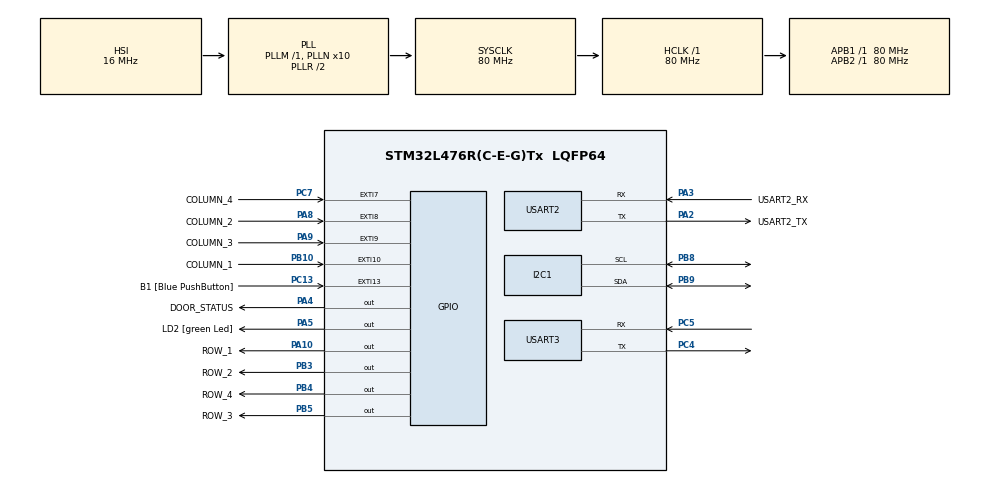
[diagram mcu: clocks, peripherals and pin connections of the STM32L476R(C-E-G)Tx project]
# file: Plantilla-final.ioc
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I2C1.Timing=0x10D19CE4
Mcu.Family=STM32L4
Mcu.Name=STM32L476R(C-E-G)Tx
Mcu.Package=LQFP64
NVIC.EXTI15_10_IRQn=true\:0\:0\:false\:false\:true\:true\:true\:true
NVIC.EXTI9_5_IRQn=true\:0\:0\:false\:false\:true\:true\:true\:true
NVIC.I2C1_ER_IRQn=true\:0\:0\:false\:false\:true\:true\:true\:true
NVIC.I2C1_EV_IRQn=true\:0\:0\:false\:false\:true\:true\:true\:true
NVIC.PriorityGroup=NVIC_PRIORITYGROUP_4
NVIC.RCC_IRQn=true\:0\:0\:false\:false\:true\:true\:false\:true
NVIC.USART2_IRQn=true\:0\:0\:false\:false\:true\:true\:true\:true
NVIC.USART3_IRQn=true\:0\:0\:false\:false\:true\:true\:true\:true
PA10.GPIO_Label=ROW_1
PA10.GPIO_ModeDefaultOutputPP=GPIO_MODE_OUTPUT_OD
PA10.GPIO_PuPd=GPIO_NOPULL
PA10.GPIO_Speed=GPIO_SPEED_FREQ_VERY_HIGH
PA10.PinState=GPIO_PIN_RESET
PA10.Signal=GPIO_Output
PA13\ (JTMS-SWDIO).GPIO_Label=TMS
PA13\ (JTMS-SWDIO).Mode=Serial_Wire
PA13\ (JTMS-SWDIO).Signal=SYS_JTMS-SWDIO
PA14\ (JTCK-SWCLK).GPIO_Label=TCK
PA14\ (JTCK-SWCLK).Mode=Serial_Wire
PA14\ (JTCK-SWCLK).Signal=SYS_JTCK-SWCLK
PA2.GPIO_Label=USART2_TX
PA2.GPIO_Mode=GPIO_MODE_AF_PP
PA2.GPIO_PuPd=GPIO_NOPULL
PA2.GPIO_Speed=GPIO_SPEED_FREQ_VERY_HIGH
PA2.Mode=Asynchronous
PA2.Signal=USART2_TX
PA3.GPIO_Label=USART2_RX
PA3.GPIO_Mode=GPIO_MODE_AF_PP
PA3.GPIO_PuPd=GPIO_NOPULL
PA3.GPIO_Speed=GPIO_SPEED_FREQ_VERY_HIGH
PA3.Mode=Asynchronous
PA3.Signal=USART2_RX
PA4.GPIO_Label=DOOR_STATUS
PA4.Signal=GPIO_Output
PA5.GPIO_Label=LD2 [green Led]
PA5.GPIO_ModeDefaultOutputPP=GPIO_MODE_OUTPUT_PP
PA5.GPIO_PuPd=GPIO_NOPULL
PA5.GPIO_Speed=GPIO_SPEED_FREQ_LOW
PA5.Signal=GPIO_Output
PA8.GPIO_Label=COLUMN_2
PA8.GPIO_ModeDefaultEXTI=GPIO_MODE_IT_FALLING
PA8.GPIO_PuPd=GPIO_PULLUP
PA8.Signal=GPXTI8
PA9.GPIO_Label=COLUMN_3
PA9.GPIO_ModeDefaultEXTI=GPIO_MODE_IT_FALLING
PA9.GPIO_PuPd=GPIO_PULLUP
PA9.Signal=GPXTI9
PB10.GPIO_Label=COLUMN_1
PB10.GPIO_ModeDefaultEXTI=GPIO_MODE_IT_FALLING
PB10.GPIO_PuPd=GPIO_PULLUP
PB10.Signal=GPXTI10
PB3\ (JTDO-TRACESWO).GPIO_Label=ROW_2
PB3\ (JTDO-TRACESWO).GPIO_ModeDefaultOutputPP=GPIO_MODE_OUTPUT_OD
PB3\ (JTDO-TRACESWO).GPIO_PuPd=GPIO_NOPULL
PB3\ (JTDO-TRACESWO).GPIO_Speed=GPIO_SPEED_FREQ_VERY_HIGH
PB3\ (JTDO-TRACESWO).PinState=GPIO_PIN_RESET
PB3\ (JTDO-TRACESWO).Signal=GPIO_Output
PB4\ (NJTRST).GPIO_Label=ROW_4
PB4\ (NJTRST).GPIO_ModeDefaultOutputPP=GPIO_MODE_OUTPUT_OD
PB4\ (NJTRST).GPIO_PuPd=GPIO_NOPULL
PB4\ (NJTRST).GPIO_Speed=GPIO_SPEED_FREQ_VERY_HIGH
PB4\ (NJTRST).PinState=GPIO_PIN_RESET
PB4\ (NJTRST).Signal=GPIO_Output
PB5.GPIO_Label=ROW_3
PB5.GPIO_ModeDefaultOutputPP=GPIO_MODE_OUTPUT_OD
PB5.GPIO_PuPd=GPIO_NOPULL
PB5.GPIO_Speed=GPIO_SPEED_FREQ_VERY_HIGH
PB5.PinState=GPIO_PIN_RESET
PB5.Signal=GPIO_Output
PB8.Mode=I2C
PB8.Signal=I2C1_SCL
PB9.Mode=I2C
PB9.Signal=I2C1_SDA
PC13.GPIO_Label=B1 [Blue PushButton]
PC13.GPIO_ModeDefaultEXTI=GPIO_MODE_IT_FALLING
PC13.GPIO_PuPd=GPIO_NOPULL
PC13.Signal=GPXTI13
PC14-OSC32_IN\ (PC14).Mode=LSE-External-Oscillator
PC14-OSC32_IN\ (PC14).Signal=RCC_OSC32_IN
PC15-OSC32_OUT\ (PC15).Mode=LSE-External-Oscillator
PC15-OSC32_OUT\ (PC15).Signal=RCC_OSC32_OUT
PC4.Mode=Asynchronous
PC4.Signal=USART3_TX
PC5.Mode=Asynchronous
PC5.Signal=USART3_RX
PC7.GPIO_Label=COLUMN_4
PC7.GPIO_ModeDefaultEXTI=GPIO_MODE_IT_FALLING
PC7.GPIO_PuPd=GPIO_PULLUP
PC7.Signal=GPXTI7
PH0-OSC_IN\ (PH0).Signal=RCC_OSC_IN
PH1-OSC_OUT\ (PH1).Signal=RCC_OSC_OUT
ProjectManager.HeapSize=0x200
ProjectManager.StackSize=0x400
ProjectManager.TargetToolchain=CMake
RCC.ADCFreq_Value=64000000
RCC.AHBFreq_Value=80000000
RCC.APB1Freq_Value=80000000
RCC.APB1TimFreq_Value=80000000
RCC.APB2Freq_Value=80000000
RCC.APB2TimFreq_Value=80000000
RCC.CortexFreq_Value=80000000
RCC.HCLKFreq_Value=80000000
RCC.HSE_VALUE=8000000
RCC.HSI_VALUE=16000000
RCC.MSI_VALUE=4000000
RCC.PLLN=10
RCC.PLLSourceVirtual=RCC_PLLSOURCE_HSI
RCC.PREFETCH_ENABLE=1
RCC.SYSCLKFreq_VALUE=80000000
RCC.SYSCLKSource=RCC_SYSCLKSOURCE_PLLCLK
RCC.USBFreq_Value=64000000
RCC.VCOOutputFreq_Value=160000000
USART2.VirtualMode-Asynchronous=VM_ASYNC
USART3.VirtualMode-Asynchronous=VM_ASYNC
board=NUCLEO-L476RG

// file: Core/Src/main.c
/* USER CODE BEGIN Header */
/**
  ******************************************************************************
  * @file           : main.c
  * @brief          : Main program body
  ******************************************************************************
  * @attention
  *
  * Copyright (c) 2025 STMicroelectronics.
  * All rights reserved.
  *
  * This software is licensed under terms that can be found in the LICENSE file
  * in the root directory of this software component.
  * If no LICENSE file comes with this software, it is provided AS-IS.
  *
  ******************************************************************************
  */
/* USER CODE END Header */
#include "main.h"
#include "system.h"

/* USER CODE BEGIN Includes */
#include "keypad.h"
#include "ssd1306.h"
#include "ssd1306_fonts.h"
/* USER CODE END Includes */

I2C_HandleTypeDef hi2c1;

UART_HandleTypeDef huart2;
UART_HandleTypeDef huart3;

/* USER CODE BEGIN PV */
uint16_t keypad_colum_pressed = 0;
uint8_t b1_press_count = 0;
uint32_t button_last_press = 0;    // Tiempo de la última pulsación

uint8_t pc_rx_data[BUFFER_CAPACITY];
ring_buffer_t pc_rx_buffer;

uint8_t keypad_rx_data[BUFFER_CAPACITY];
ring_buffer_t keypad_rx_buffer;

uint8_t internet_rx_data[BUFFER_CAPACITY];
ring_buffer_t internet_rx_buffer;

door_state_t door_state = STATE_CERRADO;
uint32_t door_timer = 0;  // Para contar el tiempo en modo temporal

char key_buffer[KEYPAD_BUFFER_SIZE] = {0};
uint8_t key_index = 0;

/* USER CODE END PV */

void SystemClock_Config(void);
static void MX_GPIO_Init(void);
static void MX_I2C1_Init(void);
static void MX_USART2_UART_Init(void);
static void MX_USART3_UART_Init(void);

/* USER CODE BEGIN 0 */

void HAL_GPIO_EXTI_Callback(uint16_t GPIO_Pin)
{
  if (GPIO_Pin == B1_Pin) { // Botón
    uint32_t current_time = HAL_GetTick();

    // Debounce: ignora presiones si han pasado menos de 100 ms desde la última
    if (current_time - button_last_press < 100) {
      return;
    }

    // Actualiza el tiempo de la última pulsación y cuenta la pulsación
    button_last_press = current_time;
    b1_press_count++;

  } else { // Teclado matricial
    keypad_colum_pressed = GPIO_Pin;
  }
}

/**
* @brief Callback de interrupción de recepción UART.
* Se almacenan los datos recibidos en el ring buffer correspondiente según la interfaz.
*/
uint8_t rx_data;
void HAL_UART_RxCpltCallback(UART_HandleTypeDef *huart)
{
  if (huart->Instance == USART2) {
    ring_buffer_write(&pc_rx_buffer, rx_data);
    HAL_UART_Transmit(&huart2, &rx_data, 1, 1000);
    HAL_UART_Receive_IT(&huart2, &rx_data, 1);

  } else if (huart->Instance == USART3) {
    ring_buffer_write(&internet_rx_buffer, rx_data);
    HAL_UART_Transmit(&huart2, &rx_data, 1, 1000);
    HAL_UART_Receive_IT(&huart3, &rx_data, 1);
  }
}

/**
 * @brief  Retargets the C library printf function to the USART.
*/
int _write(int file, char *ptr, int len)
{
  (void)file;
  HAL_UART_Transmit(&huart2, (uint8_t *)ptr, len, 10);
  return len;
}
/* USER CODE END 0 */

int main(void)
{

  /* MCU Configuration--------------------------------------------------------*/

  /* Reset of all peripherals, Initializes the Flash interface and the Systick. */
  HAL_Init();

  /* USER CODE BEGIN Init */
  keypad_init();
  /* USER CODE END Init */

  /* Configure the system clock */
  SystemClock_Config();

  /* Initialize all configured peripherals */
  MX_GPIO_Init();
  MX_I2C1_Init();
  MX_USART2_UART_Init();
  MX_USART3_UART_Init();
  /* USER CODE BEGIN 2 */
  HAL_UART_Transmit(&huart2, (uint8_t *)"Hello, stm32\r\n", 14, 1000);
  HAL_UART_Transmit(&huart3, (uint8_t *)"Hello, esp-wifi\r\n", 17, 1000);
  HAL_UART_Receive_IT(&huart3, &rx_data, 1);
  HAL_UART_Receive_IT(&huart2, &rx_data, 1);

  ring_buffer_init(&pc_rx_buffer, pc_rx_data, sizeof(pc_rx_data));
  ring_buffer_init(&keypad_rx_buffer, keypad_rx_data, sizeof(keypad_rx_data));
  ring_buffer_init(&internet_rx_buffer, internet_rx_data, sizeof(internet_rx_data));

  ssd1306_Init();
  ssd1306_Fill(Black);
  ssd1306_SetCursor(17, 17);
  ssd1306_WriteString(FW_VERSION, Font_11x18, White);
  ssd1306_UpdateScreen();

  /* USER CODE END 2 */

  /* Infinite loop */
  /* USER CODE BEGIN WHILE */
  printf("Firmware version: %s\r\n", FW_VERSION);
  while (1)
  {
    heartbeat();

      // Procesa el evento del botón solo si han pasado al menos 500 ms desde la última pulsación
    if (b1_press_count > 0 && (HAL_GetTick() - button_last_press >= 500)) {
      system_events_handler_button(b1_press_count);
      b1_press_count = 0;  // Reinicia el contador después de procesar el evento
    }
    if (keypad_colum_pressed > 0) {
      uint8_t key = keypad_scan(keypad_colum_pressed);

      printf("Key pressed: %c\r\n", key);
      HAL_UART_Transmit(&huart3, &key, 1, 1000);
      system_events_handler_key(key);
      keypad_colum_pressed = 0;
    }

    // Procesar comandos recibidos vía UART (desde PC host y ESP01)
    process_uart_commands(&pc_rx_buffer);
    process_uart_commands(&internet_rx_buffer);

    system_state_machine();

    /* USER CODE END WHILE */

  }
}

void SystemClock_Config(void)
{
  RCC_OscInitTypeDef RCC_OscInitStruct = {0};
  RCC_ClkInitTypeDef RCC_ClkInitStruct = {0};

  /** Configure the main internal regulator output voltage
  */
  if (HAL_PWREx_ControlVoltageScaling(PWR_REGULATOR_VOLTAGE_SCALE1) != HAL_OK)
  {
    Error_Handler();
  }

  /** Initializes the RCC Oscillators according to the specified parameters
  * in the RCC_OscInitTypeDef structure.
  */
  RCC_OscInitStruct.OscillatorType = RCC_OSCILLATORTYPE_HSI;
  RCC_OscInitStruct.HSIState = RCC_HSI_ON;
  RCC_OscInitStruct.HSICalibrationValue = RCC_HSICALIBRATION_DEFAULT;
  RCC_OscInitStruct.PLL.PLLState = RCC_PLL_ON;
  RCC_OscInitStruct.PLL.PLLSource = RCC_PLLSOURCE_HSI;
  RCC_OscInitStruct.PLL.PLLM = 1;
  RCC_OscInitStruct.PLL.PLLN = 10;
  RCC_OscInitStruct.PLL.PLLP = RCC_PLLP_DIV7;
  RCC_OscInitStruct.PLL.PLLQ = RCC_PLLQ_DIV2;
  RCC_OscInitStruct.PLL.PLLR = RCC_PLLR_DIV2;
  if (HAL_RCC_OscConfig(&RCC_OscInitStruct) != HAL_OK)
  {
    Error_Handler();
  }

  /** Initializes the CPU, AHB and APB buses clocks
  */
  RCC_ClkInitStruct.ClockType = RCC_CLOCKTYPE_HCLK|RCC_CLOCKTYPE_SYSCLK
                              |RCC_CLOCKTYPE_PCLK1|RCC_CLOCKTYPE_PCLK2;
  RCC_ClkInitStruct.SYSCLKSource = RCC_SYSCLKSOURCE_PLLCLK;
  RCC_ClkInitStruct.AHBCLKDivider = RCC_SYSCLK_DIV1;
  RCC_ClkInitStruct.APB1CLKDivider = RCC_HCLK_DIV1;
  RCC_ClkInitStruct.APB2CLKDivider = RCC_HCLK_DIV1;

  if (HAL_RCC_ClockConfig(&RCC_ClkInitStruct, FLASH_LATENCY_4) != HAL_OK)
  {
    Error_Handler();
  }
}

static void MX_I2C1_Init(void)
{

  hi2c1.Instance = I2C1;
  hi2c1.Init.Timing = 0x10D19CE4;
  hi2c1.Init.OwnAddress1 = 0;
  hi2c1.Init.AddressingMode = I2C_ADDRESSINGMODE_7BIT;
  hi2c1.Init.DualAddressMode = I2C_DUALADDRESS_DISABLE;
  hi2c1.Init.OwnAddress2 = 0;
  hi2c1.Init.OwnAddress2Masks = I2C_OA2_NOMASK;
  hi2c1.Init.GeneralCallMode = I2C_GENERALCALL_DISABLE;
  hi2c1.Init.NoStretchMode = I2C_NOSTRETCH_DISABLE;
  if (HAL_I2C_Init(&hi2c1) != HAL_OK)
  {
    Error_Handler();
  }

  /** Configure Analogue filter
  */
  if (HAL_I2CEx_ConfigAnalogFilter(&hi2c1, I2C_ANALOGFILTER_ENABLE) != HAL_OK)
  {
    Error_Handler();
  }

  /** Configure Digital filter
  */
  if (HAL_I2CEx_ConfigDigitalFilter(&hi2c1, 0) != HAL_OK)
  {
    Error_Handler();
  }

}

static void MX_USART2_UART_Init(void)
{

  huart2.Instance = USART2;
  huart2.Init.BaudRate = 115200;
  huart2.Init.WordLength = UART_WORDLENGTH_8B;
  huart2.Init.StopBits = UART_STOPBITS_1;
  huart2.Init.Parity = UART_PARITY_NONE;
  huart2.Init.Mode = UART_MODE_TX_RX;
  huart2.Init.HwFlowCtl = UART_HWCONTROL_NONE;
  huart2.Init.OverSampling = UART_OVERSAMPLING_16;
  huart2.Init.OneBitSampling = UART_ONE_BIT_SAMPLE_DISABLE;
  huart2.AdvancedInit.AdvFeatureInit = UART_ADVFEATURE_NO_INIT;
  if (HAL_UART_Init(&huart2) != HAL_OK)
  {
    Error_Handler();
  }

}

static void MX_USART3_UART_Init(void)
{

  huart3.Instance = USART3;
  huart3.Init.BaudRate = 115200;
  huart3.Init.WordLength = UART_WORDLENGTH_8B;
  huart3.Init.StopBits = UART_STOPBITS_1;
  huart3.Init.Parity = UART_PARITY_NONE;
  huart3.Init.Mode = UART_MODE_TX_RX;
  huart3.Init.HwFlowCtl = UART_HWCONTROL_NONE;
  huart3.Init.OverSampling = UART_OVERSAMPLING_16;
  huart3.Init.OneBitSampling = UART_ONE_BIT_SAMPLE_DISABLE;
  huart3.AdvancedInit.AdvFeatureInit = UART_ADVFEATURE_NO_INIT;
  if (HAL_UART_Init(&huart3) != HAL_OK)
  {
    Error_Handler();
  }

}

static void MX_GPIO_Init(void)
{
  GPIO_InitTypeDef GPIO_InitStruct = {0};

  /* GPIO Ports Clock Enable */
  __HAL_RCC_GPIOC_CLK_ENABLE();
  __HAL_RCC_GPIOH_CLK_ENABLE();
  __HAL_RCC_GPIOA_CLK_ENABLE();
  __HAL_RCC_GPIOB_CLK_ENABLE();

  /*Configure GPIO pin Output Level */
  HAL_GPIO_WritePin(GPIOA, DOOR_STATUS_Pin|LD2_Pin|ROW_1_Pin, GPIO_PIN_RESET);

  /*Configure GPIO pin Output Level */
  HAL_GPIO_WritePin(GPIOB, ROW_2_Pin|ROW_4_Pin|ROW_3_Pin, GPIO_PIN_RESET);

  /*Configure GPIO pin : B1_Pin */
  GPIO_InitStruct.Pin = B1_Pin;
  GPIO_InitStruct.Mode = GPIO_MODE_IT_FALLING;
  GPIO_InitStruct.Pull = GPIO_NOPULL;
  HAL_GPIO_Init(B1_GPIO_Port, &GPIO_InitStruct);

  /*Configure GPIO pins : DOOR_STATUS_Pin LD2_Pin */
  GPIO_InitStruct.Pin = DOOR_STATUS_Pin|LD2_Pin;
  GPIO_InitStruct.Mode = GPIO_MODE_OUTPUT_PP;
  GPIO_InitStruct.Pull = GPIO_NOPULL;
  GPIO_InitStruct.Speed = GPIO_SPEED_FREQ_LOW;
  HAL_GPIO_Init(GPIOA, &GPIO_InitStruct);

  /*Configure GPIO pin : COLUMN_1_Pin */
  GPIO_InitStruct.Pin = COLUMN_1_Pin;
  GPIO_InitStruct.Mode = GPIO_MODE_IT_FALLING;
  GPIO_InitStruct.Pull = GPIO_PULLUP;
  HAL_GPIO_Init(COLUMN_1_GPIO_Port, &GPIO_InitStruct);

  /*Configure GPIO pin : COLUMN_4_Pin */
  GPIO_InitStruct.Pin = COLUMN_4_Pin;
  GPIO_InitStruct.Mode = GPIO_MODE_IT_FALLING;
  GPIO_InitStruct.Pull = GPIO_PULLUP;
  HAL_GPIO_Init(COLUMN_4_GPIO_Port, &GPIO_InitStruct);

  /*Configure GPIO pins : COLUMN_2_Pin COLUMN_3_Pin */
  GPIO_InitStruct.Pin = COLUMN_2_Pin|COLUMN_3_Pin;
  GPIO_InitStruct.Mode = GPIO_MODE_IT_FALLING;
  GPIO_InitStruct.Pull = GPIO_PULLUP;
  HAL_GPIO_Init(GPIOA, &GPIO_InitStruct);

  /*Configure GPIO pin : ROW_1_Pin */
  GPIO_InitStruct.Pin = ROW_1_Pin;
  GPIO_InitStruct.Mode = GPIO_MODE_OUTPUT_OD;
  GPIO_InitStruct.Pull = GPIO_NOPULL;
  GPIO_InitStruct.Speed = GPIO_SPEED_FREQ_VERY_HIGH;
  HAL_GPIO_Init(ROW_1_GPIO_Port, &GPIO_InitStruct);

  /*Configure GPIO pins : ROW_2_Pin ROW_4_Pin ROW_3_Pin */
  GPIO_InitStruct.Pin = ROW_2_Pin|ROW_4_Pin|ROW_3_Pin;
  GPIO_InitStruct.Mode = GPIO_MODE_OUTPUT_OD;
  GPIO_InitStruct.Pull = GPIO_NOPULL;
  GPIO_InitStruct.Speed = GPIO_SPEED_FREQ_VERY_HIGH;
  HAL_GPIO_Init(GPIOB, &GPIO_InitStruct);

  /* EXTI interrupt init*/
  HAL_NVIC_SetPriority(EXTI9_5_IRQn, 0, 0);
  HAL_NVIC_EnableIRQ(EXTI9_5_IRQn);

  HAL_NVIC_SetPriority(EXTI15_10_IRQn, 0, 0);
  HAL_NVIC_EnableIRQ(EXTI15_10_IRQn);

}

void Error_Handler(void)
{
  __disable_irq();
  while (1)
  {
  }
}
